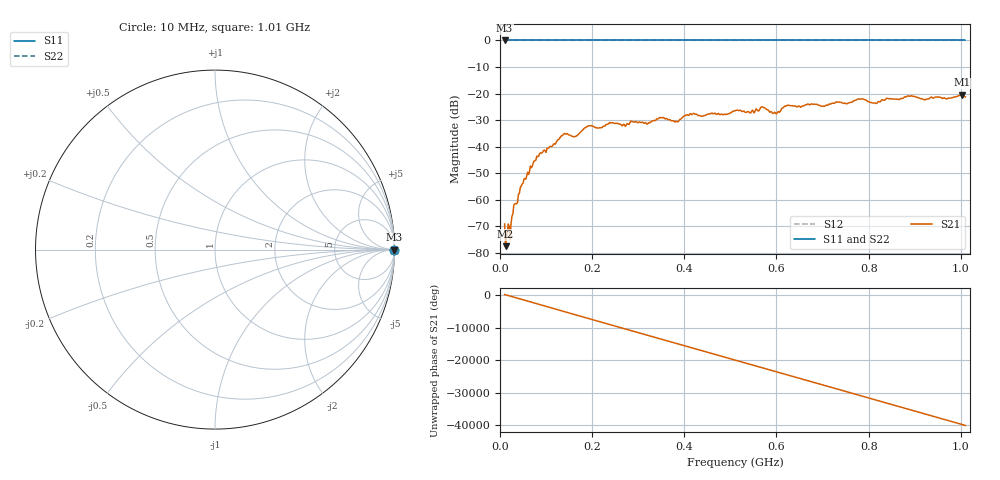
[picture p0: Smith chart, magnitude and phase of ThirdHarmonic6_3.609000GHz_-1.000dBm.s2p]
! 8/17/2025 12:03:13 PM
! C:\ANRITSUVNA\TEMP\TEMP.S2P
! CHANNEL.1
! TR.MEASUREMENT
! RAW.DATA
! RF.CORRECTION.OFF
! AVERAGING.OFF
! IF.BANDWIDTH: 5KHZ
! SWEEPTYPE:  FREQ.SWEEP(Linear)
! Reference Plane Port Info
! PORT:  PORT1  PORT2
! DISTANCE:  0  m  0  m
! TIME:  0  s  0  s
! PHASE.OFFSET:  0  deg.  0  deg.
! LOSS:  0  dB  0  dB
! REF.LOSS:  0  dB  0  dB
! REF.FREQ:  0  Hz  0  Hz
! Power Info
! POWER:  -20  dBm  -20  dBm
! EFF.POWER:  -20  dBm  -20  dBm
! SOURCE.ATTEN:  0  dB  0  dB
! TEST.ATTEN:  0  dB  0  dB
# GHZ S RI R 50.0
! FREQ.GHZ  S11RE  S11IM  S21RE  S21IM  S12RE  S12IM  S22RE  S22IM
!; PortSelection: Port_12
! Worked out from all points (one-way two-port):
!   501 points, 10 MHz to 1.01 GHz, reference 50 ohm
!   highest |S21| = -20.43 dB at 1.002 GHz (marker M1); lowest = -77.4 dB at 12 MHz (marker M2)
!   lowest |S11| = 0.0 dB at 10 MHz (marker M3)
!   |S11| at or under -10 dB: nowhere
!   |S22| runs from 0.0 to 0.0 dB; largest |S21 - S12| = 1.1
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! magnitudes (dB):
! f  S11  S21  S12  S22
! 10 MHz  0.0  -69.0  0.0  0.0
! 12 MHz  0.0  -77.4  0.0  0.0
! 24 MHz  0.0  -68.8  0.0  0.0
! 30 MHz  0.0  -61.9  0.0  0.0
! 48 MHz  0.0  -54.1  0.0  0.0
! 84 MHz  0.0  -43.5  0.0  0.0
! 136 MHz  0.0  -35.7  0.0  0.0
! 164 MHz  0.0  -36.1  0.0  0.0
! 178 MHz  0.0  -33.9  0.0  0.0
! 344 MHz  0.0  -29.4  0.0  0.0
! 384 MHz  0.0  -30.5  0.0  0.0
! 416 MHz  0.0  -27.9  0.0  0.0
! 510 MHz  0.0  -26.4  0.0  0.0
! 570 MHz  0.0  -25.0  0.0  0.0
! 596 MHz  0.0  -27.0  0.0  0.0
! 622 MHz  0.0  -24.5  0.0  0.0
! 678 MHz  0.0  -24.0  0.0  0.0
! 782 MHz  0.0  -22.0  0.0  0.0
! 814 MHz  0.0  -23.5  0.0  0.0
! 844 MHz  0.0  -22.0  0.0  0.0
! 1.002 GHz  0.0  -20.4  0.0  0.0
! 1.01 GHz  0.0  -21.2  0.0  0.0
